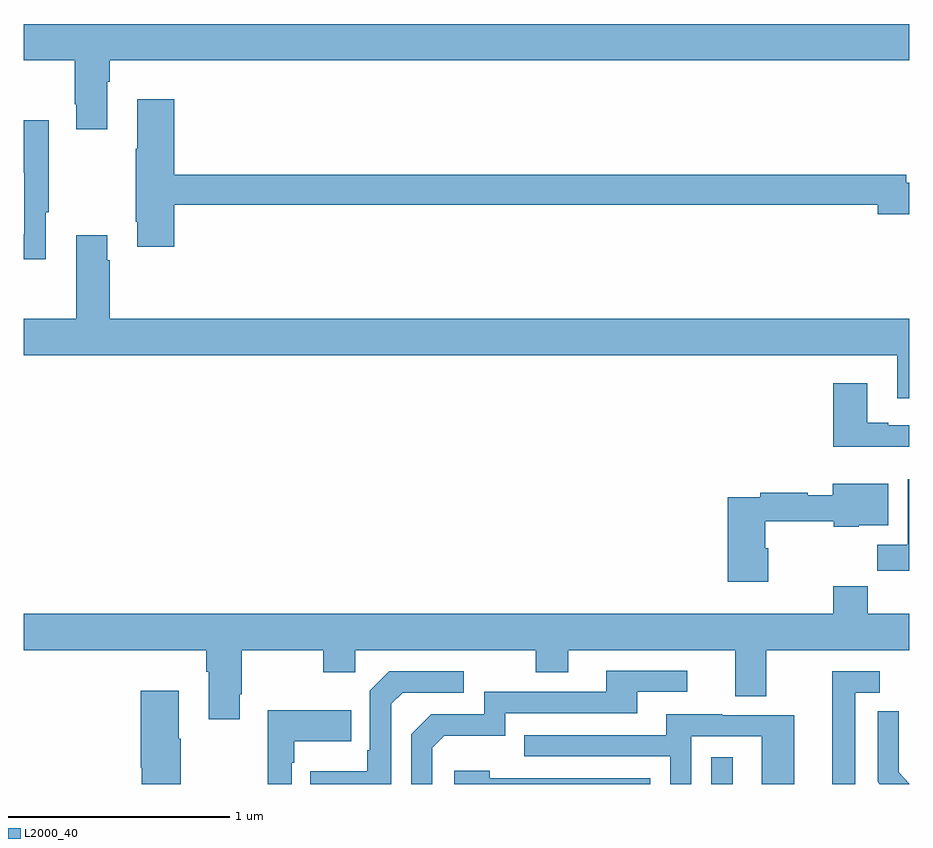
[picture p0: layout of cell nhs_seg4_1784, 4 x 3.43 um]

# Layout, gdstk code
import gdstk
lib = gdstk.Library(unit=1e-6, precision=1e-09)
def R(c, l, rs):  # rectangles x0, y0, x1, y1
    for r in rs: c.add(gdstk.rectangle(r[:2], r[2:], *l))
def P(c, l, *ps):  # polygons
    for p in ps: c.add(gdstk.Polygon(p, *l))
L2000_40 = (2000, 40)

nhs_seg4_1784 = lib.new_cell('nhs_seg4_1784')
R(nhs_seg4_1784, L2000_40, [(206.106,778.9,206.203,779.02)])
P(nhs_seg4_1784, L2000_40, [(203.377,782.072),(203.39,782.072),(203.39,782.168),(207,782.168),(207,782.332),(203,782.332),(203,782.168),(203.23,782.168),(203.23,781.969),(203.237,781.969),(203.237,781.857),(203.377,781.857)],
  [(203.681,781.516),(206.858,781.516),(206.858,781.474),(207,781.474),(207,781.616),(206.986,781.616),(206.986,781.652),(203.681,781.652),(203.681,781.993),(203.513,781.993),(203.513,781.769),(203.506,781.769),(203.506,781.438),(203.513,781.438),(203.513,781.326),(203.681,781.326)],
  [(203.101,781.481),(203.113,781.481),(203.113,781.897),(203,781.897),(203,781.661),(203.004,781.661),(203.004,781.382),(203,781.382),(203,781.269),(203.101,781.269)],
  [(207,781),(203.39,781),(203.39,781.265),(203.377,781.265),(203.377,781.378),(203.237,781.378),(203.237,781),(203,781),(203,780.836),(206.945,780.836),(206.945,780.642),(207,780.642)],
  [(207,780.519),(206.905,780.519),(206.905,780.532),(206.809,780.532),(206.809,780.709),(206.657,780.709),(206.657,780.422),(207,780.422)],
  [(207,780.277),(206.993,780.277),(206.993,779.98),(206.854,779.98),(206.854,779.862),(207,779.862)],
  [(206.363,779.964),(206.35,779.964),(206.35,780.087),(206.658,780.087),(206.658,780.062),(206.772,780.062),(206.772,780.068),(206.905,780.068),(206.905,780.256),(206.654,780.256),(206.654,780.204),(206.54,780.204),(206.54,780.215),(206.326,780.215),(206.326,780.195),(206.18,780.195),(206.18,779.814),(206.363,779.814)],
  [(203.977,779.305),(203.985,779.305),(203.985,779.504),(204.352,779.504),(204.352,779.405),(204.498,779.405),(204.498,779.504),(205.312,779.504),(205.312,779.405),(205.459,779.405),(205.459,779.504),(206.213,779.504),(206.213,779.296),(206.353,779.296),(206.353,779.504),(207,779.504),(207,779.668),(206.813,779.668),(206.813,779.792),(206.657,779.792),(206.657,779.668),(203,779.668),(203,779.504),(203.825,779.504),(203.825,779.408),(203.837,779.408),(203.837,779.193),(203.977,779.193)],
  [(204.846,779.064),(204.899,779.117),(205.176,779.117),(205.176,779.22),(205.771,779.22),(205.771,779.316),(205.996,779.316),(205.996,779.412),(205.631,779.412),(205.631,779.316),(205.08,779.316),(205.08,779.214),(204.84,779.214),(204.75,779.124),(204.75,778.9),(204.846,778.9)],
  [(206.755,779.313),(206.866,779.313),(206.866,779.409),(206.651,779.409),(206.651,778.9),(206.755,778.9)],
  [(204.66,779.262),(204.711,779.313),(204.988,779.313),(204.988,779.409),(204.651,779.409),(204.564,779.322),(204.564,779.053),(204.552,779.053),(204.552,778.957),(204.295,778.957),(204.295,778.9),(204.66,778.9)],
  [(203.709,779.105),(203.701,779.105),(203.701,779.32),(203.528,779.32),(203.528,778.974),(203.534,778.974),(203.534,778.9),(203.709,778.9)],
  [(204.21,778.997),(204.223,778.997),(204.223,779.093),(204.479,779.093),(204.479,779.233),(204.102,779.233),(204.102,778.9),(204.21,778.9)],
  [(207,778.902),(206.951,778.952),(206.951,779.056),(206.953,779.056),(206.953,779.228),(206.856,779.228),(206.856,778.91),(206.866,778.9),(207,778.9)],
  [(206.016,779.115),(206.334,779.115),(206.334,778.9),(206.479,778.9),(206.479,779.211),(206.155,779.211),(206.155,779.215),(205.901,779.215),(205.901,779.121),(205.261,779.121),(205.261,779.025),(205.92,779.025),(205.92,778.9),(206.016,778.9)],
  [(205.83,778.926),(205.106,778.926),(205.106,778.96),(204.945,778.96),(204.945,778.9),(205.83,778.9)])

lib.write_gds('nhs_seg4_1784.gds')
